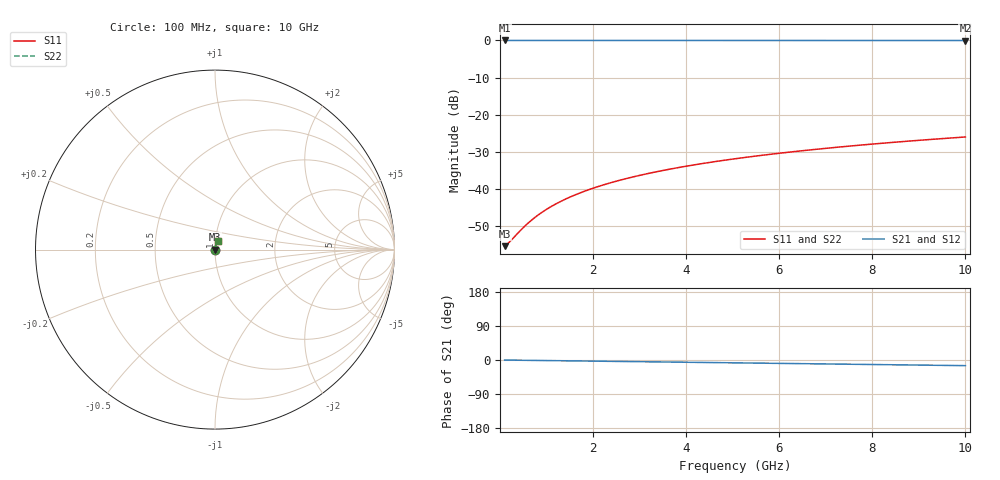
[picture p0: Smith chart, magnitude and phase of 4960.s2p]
# Hz S RI R 50.00
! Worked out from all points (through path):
!   100 points, 100 MHz to 10 GHz, reference 50 ohm
!   highest |S21| = -0.01 dB at 100 MHz (marker M1); lowest = 0.0 dB at 10 GHz (marker M2)
!   group delay of S21, straight-line fit = 4.14 ps
!   lowest |S11| = -55.4 dB at 100 MHz (marker M3), VSWR 1.00, Z = 50.2 + j0.0504 ohm
!   |S11| at or under -10 dB: start of sweep to end of sweep
!   |S22| runs from -55.4 to -26.0 dB; largest |S21 - S12| = 0
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1e8  0.00163 0.000503  0.9984 -0.00258  0.9984 -0.00258  0.00163 0.000503
2e8  0.00164 0.00101  0.9983 -0.00517  0.9983 -0.00517  0.00164 0.00101
4e8  0.00167 0.00201  0.9983 -0.0103  0.9983 -0.0103  0.00167 0.00201
5e8  0.00169 0.00251  0.9982 -0.0129  0.9982 -0.0129  0.00169 0.00251
6e8  0.00171 0.00301  0.9982 -0.0155  0.9982 -0.0155  0.00171 0.00301
7e8  0.00173 0.00352  0.9982 -0.0181  0.9982 -0.0181  0.00173 0.00352
9e8  0.00178 0.00452  0.998 -0.0233  0.998 -0.0233  0.00178 0.00452
1.1e9  0.00183 0.00552  0.9979 -0.0284  0.9979 -0.0284  0.00183 0.00552
1.3e9  0.0019 0.00653  0.9977 -0.0336  0.9977 -0.0336  0.0019 0.00653
1.5e9  0.00198 0.00753  0.9975 -0.0387  0.9975 -0.0387  0.00198 0.00753
1.8e9  0.00211 0.00903  0.9972 -0.0465  0.9972 -0.0465  0.00211 0.00903
2.1e9  0.00227 0.0105  0.9967 -0.0542  0.9967 -0.0542  0.00227 0.0105
2.5e9  0.00251 0.0125  0.9961 -0.0646  0.9961 -0.0646  0.00251 0.0125
2.9e9  0.0028 0.0145  0.9953 -0.0749  0.9953 -0.0749  0.0028 0.0145
3.4e9  0.00321 0.017  0.9942 -0.0878  0.9942 -0.0878  0.00321 0.017
4.2e9  0.00401 0.0209  0.9921 -0.1084  0.9921 -0.1084  0.00401 0.0209
5.1e9  0.0051 0.0253  0.9891 -0.1315  0.9891 -0.1315  0.0051 0.0253
5.9e9  0.00624 0.0292  0.9861 -0.1521  0.9861 -0.1521  0.00624 0.0292
6.7e9  0.00754 0.033  0.9825 -0.1725  0.9825 -0.1725  0.00754 0.033
7.5e9  0.009 0.0367  0.9786 -0.193  0.9786 -0.193  0.009 0.0367
8.4e9  0.0108 0.0409  0.9736 -0.2158  0.9736 -0.2158  0.0108 0.0409
1e10  0.0146 0.0481  0.9633 -0.2563  0.9633 -0.2563  0.0146 0.0481
